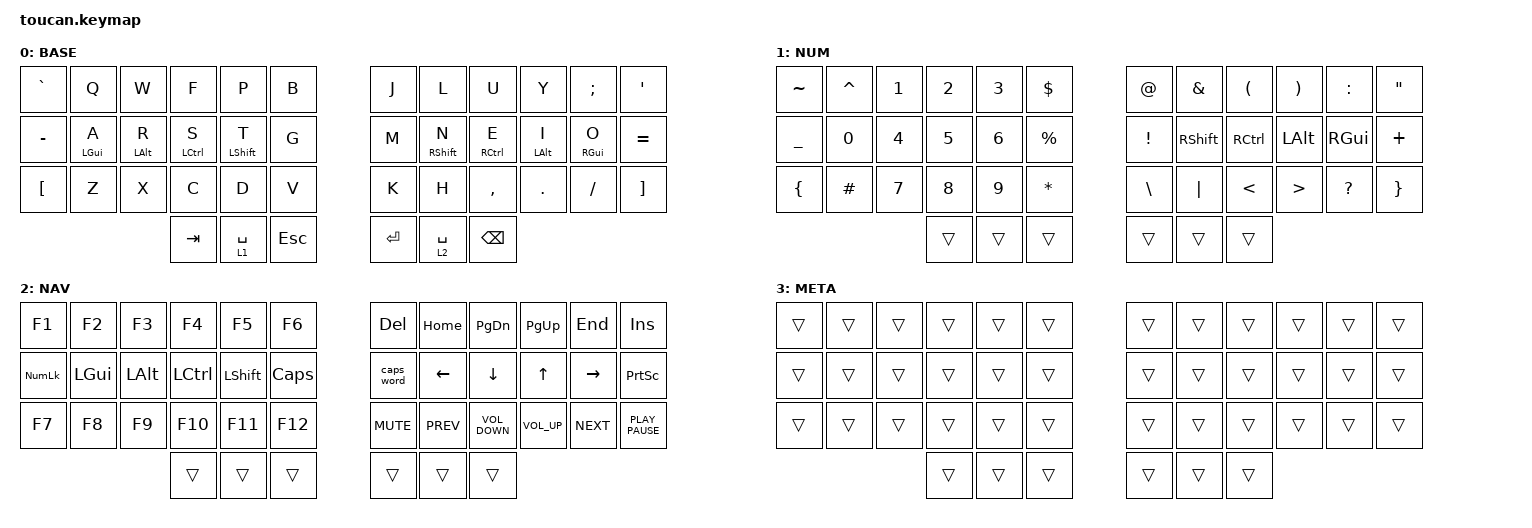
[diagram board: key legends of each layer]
#include <behaviors.dtsi>
#include <dt-bindings/zmk/keys.h>

#define BASE 0
#define NUM  1
#define NAV  2
#define META 3

&mt {
    flavor = "balanced";
    tapping-term-ms = <200>;
};

&lt {
  flavor = "balanced";
  tapping-term-ms = <200>;
};

/ {
    conditional_layers { compatible = "zmk,conditional-layers"; };

    keymap {
        compatible = "zmk,keymap";

        BASE {
            display-name = "BASE";
            bindings = <
              &kp GRAVE        &kp Q          &kp W          &kp F              &kp P            &kp B           &kp J   &kp L             &kp U               &kp Y          &kp SEMICOLON   &kp SQT
              &kp MINUS        &mt LEFT_GUI A &mt LEFT_ALT R &mt LEFT_CONTROL S &mt LEFT_SHIFT T &kp G           &kp M   &mt RIGHT_SHIFT N &mt RIGHT_CONTROL E &mt LEFT_ALT I &mt RIGHT_GUI O &kp EQUAL
              &kp LEFT_BRACKET &kp Z          &kp X          &kp C              &kp D            &kp V           &kp K   &kp H             &kp COMMA           &kp PERIOD     &kp SLASH       &kp RIGHT_BRACKET
                                                             &kp TAB            &lt 1 SPACE      &kp ESCAPE      &kp RET &lt 2 SPACE       &kp BACKSPACE
            >;
        };

        NUM {
            display-name = "NUM";
            bindings = <
              &kp TILDE      &kp CARET &kp N1 &kp N2 &kp N3 &kp DOLLAR        &kp AT_SIGN     &kp AMPERSAND &kp LPAR      &kp RPAR          &kp COLON    &kp DOUBLE_QUOTES
              &kp UNDERSCORE &kp N0    &kp N4 &kp N5 &kp N6 &kp PERCENT       &kp EXCLAMATION &kp RSHFT     &kp RCTRL     &kp LALT          &kp RGUI     &kp PLUS
              &kp LEFT_BRACE &kp HASH  &kp N7 &kp N8 &kp N9 &kp ASTERISK      &kp BACKSLASH   &kp PIPE      &kp LESS_THAN &kp GREATER_THAN  &kp QUESTION &kp RIGHT_BRACE
                                              &trans &trans &trans            &trans          &trans        &trans
            >;
        };

        NAV {
            display-name = "NAV";
            bindings = <
              &kp F1         &kp F2   &kp F3   &kp F4    &kp F5    &kp F6        &kp DEL    &kp HOME       &kp PAGE_DOWN     &kp PAGE_UP  &kp END         &kp INS
              &kp KP_NUMLOCK &kp LGUI &kp LALT &kp LCTRL &kp LSHFT &kp CAPS      &caps_word &kp LEFT_ARROW &kp DOWN_ARROW    &kp UP_ARROW &kp RIGHT_ARROW &kp PRINTSCREEN
              &kp F7         &kp F8   &kp F9   &kp F10   &kp F11   &kp F12       &kp K_MUTE &kp K_PREV     &kp K_VOLUME_DOWN &kp K_VOL_UP &kp K_NEXT      &kp K_PLAY_PAUSE
                                               &trans    &trans    &trans        &trans     &trans         &trans
            >;
        };

        META {
            display-name = "META";
            bindings = <
              &trans  &trans  &trans  &trans  &trans  &trans      &trans  &trans  &trans  &trans  &trans  &trans
              &trans  &trans  &trans  &trans  &trans  &trans      &trans  &trans  &trans  &trans  &trans  &trans
              &trans  &trans  &trans  &trans  &trans  &trans      &trans  &trans  &trans  &trans  &trans  &trans
                                      &trans  &trans  &trans      &trans  &trans  &trans
            >;
        };
    };
};
